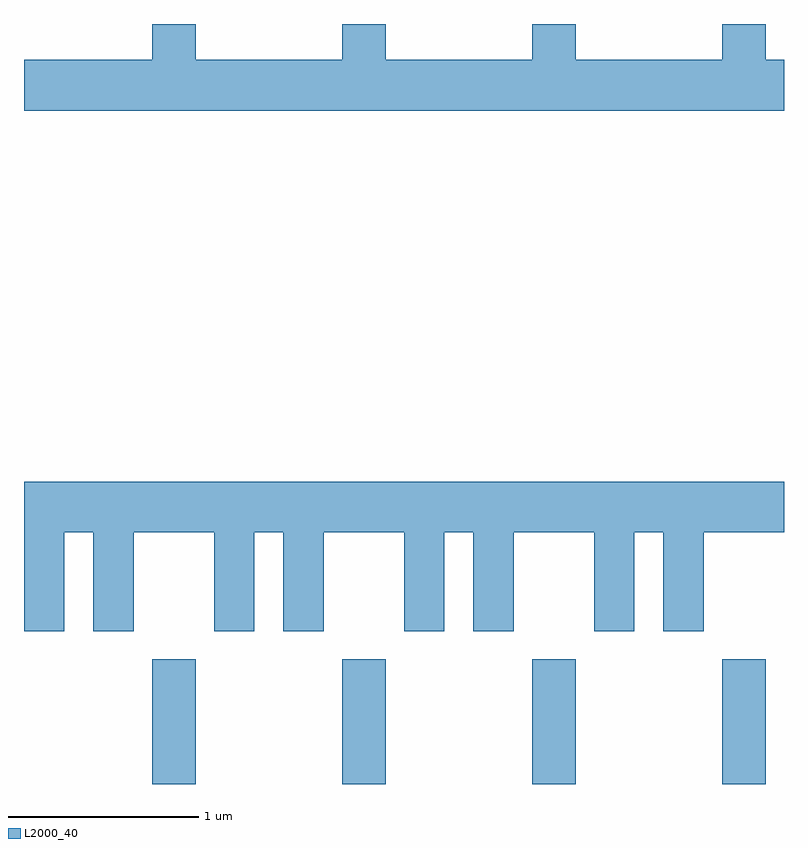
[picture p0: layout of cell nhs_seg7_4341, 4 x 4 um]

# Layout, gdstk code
import gdstk
lib = gdstk.Library(unit=1e-6, precision=1e-09)
def R(c, l, rs):  # rectangles x0, y0, x1, y1
    for r in rs: c.add(gdstk.rectangle(r[:2], r[2:], *l))
def A(c, l, x, y, w, h, nx, ny, dx, dy):  # array of equal rectangles
    R(c, l, [(x+i*dx, y+j*dy, x+i*dx+w, y+j*dy+h) for i in range(nx) for j in range(ny)])
def P(c, l, *ps):  # polygons
    for p in ps: c.add(gdstk.Polygon(p, *l))
L2000_40 = (2000, 40)

nhs_seg7_4341 = lib.new_cell('nhs_seg7_4341')
A(nhs_seg7_4341, L2000_40, 318.286, 1786.252, 0.228, 0.657, 4, 1, 1, 0)
P(nhs_seg7_4341, L2000_40, [(321.611,1790.064),(321.514,1790.064),(321.514,1790.252),(321.286,1790.252),(321.286,1790.064),(320.514,1790.064),(320.514,1790.252),(320.286,1790.252),(320.286,1790.064),(319.514,1790.064),(319.514,1790.252),(319.286,1790.252),(319.286,1790.064),(318.514,1790.064),(318.514,1790.252),(318.286,1790.252),(318.286,1790.064),(317.611,1790.064),(317.611,1789.796),(321.611,1789.796)],
  [(317.824,1787.576),(317.976,1787.576),(317.976,1787.056),(318.189,1787.056),(318.189,1787.576),(318.611,1787.576),(318.611,1787.056),(318.824,1787.056),(318.824,1787.576),(318.976,1787.576),(318.976,1787.056),(319.189,1787.056),(319.189,1787.576),(319.611,1787.576),(319.611,1787.056),(319.824,1787.056),(319.824,1787.576),(319.976,1787.576),(319.976,1787.056),(320.189,1787.056),(320.189,1787.576),(320.611,1787.576),(320.611,1787.056),(320.824,1787.056),(320.824,1787.576),(320.976,1787.576),(320.976,1787.056),(321.189,1787.056),(321.189,1787.576),(321.611,1787.576),(321.611,1787.844),(317.611,1787.844),(317.611,1787.056),(317.824,1787.056)])

lib.write_gds('nhs_seg7_4341.gds')
